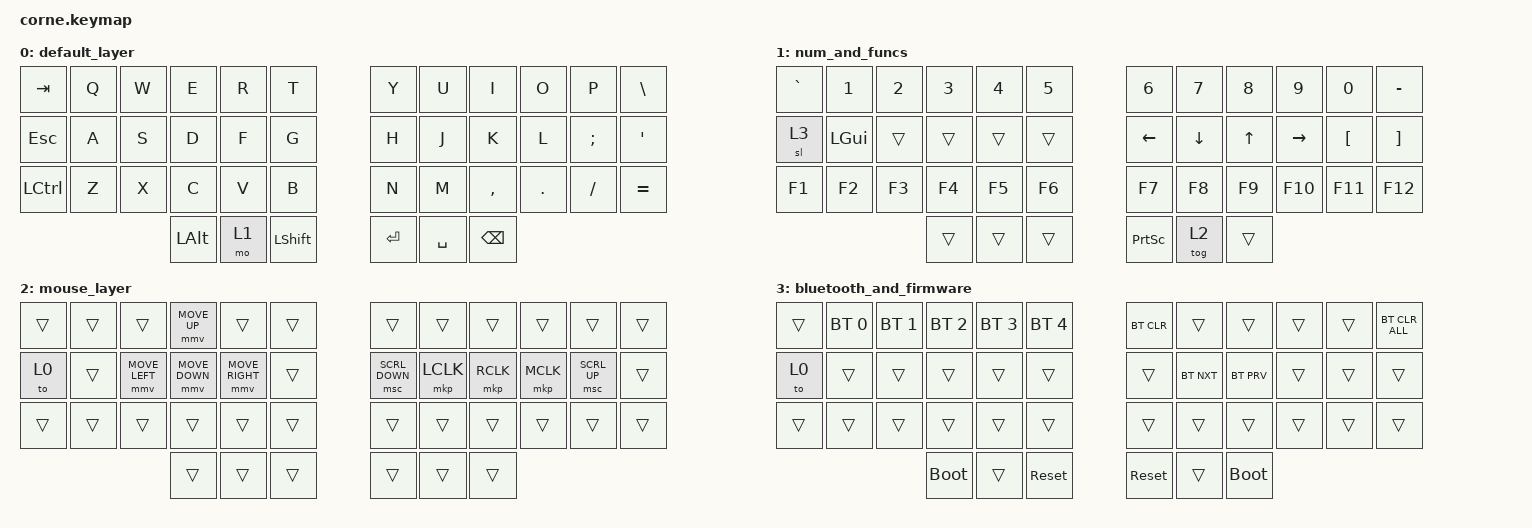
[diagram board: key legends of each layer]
/*
 * Copyright (c) 2020 The ZMK Contributors
 *
 * SPDX-License-Identifier: MIT
 */

#include <behaviors.dtsi>
#include <dt-bindings/zmk/keys.h>
#include <dt-bindings/zmk/bt.h>

#define ZMK_POINTING_DEFAULT_MOVE_VAL 1500 // default: 600
#define ZMK_POINTING_DEFAULT_SCRL_VAL 20   // default: 10
#include <dt-bindings/zmk/mouse.h>

/ {
        keymap {
                compatible = "zmk,keymap";

                default_layer {
// -----------------------------------------------------------------------------------------
// |  TAB |  Q  |  W  |  E  |  R  |  T  |   |  Y  |  U   |  I  |  O  |  P  |  \   |
// | ESC  |  A  |  S  |  D  |  F  |  G  |   |  H  |  J   |  K  |  L  |  ;  |  '   |
// | LCTRL|  Z  |  X  |  C  |  V  |  B  |   |  N  |  M   |  ,  |  .  |  /  |  =   |
//                    | LALT | mo(1) | LSHFT |   | ENT | SPC | BSPC |
                        bindings = <
   &kp TAB &kp Q &kp W &kp E &kp R &kp T   &kp Y &kp U  &kp I     &kp O   &kp P    &kp BSLH
   &kp ESC &kp A &kp S &kp D &kp F &kp G   &kp H &kp J  &kp K     &kp L   &kp SEMI &kp SQT
   &kp LCTRL &kp Z &kp X &kp C &kp V &kp B   &kp N &kp M  &kp COMMA &kp DOT &kp FSLH &kp EQUAL
                  &kp LALT &mo 1 &kp LSHFT   &kp ENTER &kp SPACE &kp BACKSPACE
                        >;
                };
                num_and_funcs {
// -----------------------------------------------------------------------------------------
// |  `   |  1  |  2  |  3  |  4  |  5  |   |  6  |  7  |  8  |  9  |  0  |  -   |
// | sl(3)| LGUI|     |     |     |     |   | LFT | DWN |  UP | RGT |  [  |  ]   |
// |  F1  |  F2 |  F3 |  F4 |  F5 |  F6 |   |  F7 |  F8 |  F9 | F10 | F11 | F12  |
//                    |     |     |     |   | PSCRN| tog(2)|    |
                        bindings = <
   &kp GRAVE    &kp N1       &kp N2       &kp N3       &kp N4       &kp N5         &kp N6   &kp N7   &kp N8 &kp N9    &kp N0 &kp MINUS
   &sl 3  &kp LGUI       &trans       &trans       &trans       &trans         &kp LEFT   &kp DOWN   &kp UP &kp RIGHT    &kp LBKT &kp RBKT
   &kp F1  &kp F2       &kp F3      &kp F4       &kp F5       &kp F6        &kp F7   &kp F8   &kp F9 &kp F10    &kp F11 &kp F12
                                    &trans     &trans       &trans      &kp PRINTSCREEN  &tog 2  &trans 
                        >;
                };
                mouse_layer {
// -----------------------------------------------------------------------------------------
// |      |     |     | M_UP|     |     |   |     |     |     |     |     |      |
// | to(0)|     |M_LFT|M_DWN|M_RGT|     |   |SC_DN|LCLK |RCLK |MCLK |SC_UP|      |
// |      |     |     |     |     |     |   |     |     |     |     |     |      |
//                    |     |     |     |   |     |     |     |
                        bindings = <
   &trans  &trans       &trans       &mmv MOVE_UP       &trans       &trans         &trans   &trans   &trans &trans    &trans &trans
   &to 0  &trans       &mmv MOVE_LEFT       &mmv MOVE_DOWN       &mmv MOVE_RIGHT       &trans         &msc SCRL_DOWN   &mkp LCLK   &mkp RCLK &mkp MCLK    &msc SCRL_UP &trans
   &trans  &trans       &trans       &trans       &trans       &trans         &trans   &trans   &trans &trans    &trans &trans
                                    &trans     &trans       &trans      &trans  &trans  &trans 
                        >;
                };

                bluetooth_and_firmware {
// -----------------------------------------------------------------------------------------
// |      | BT0 | BT1 | BT2 | BT3 | BT4 |   |BTCLR|     |     |     |     |BTCLRA|
// | to(0)|     |     |     |     |     |   |     |BTNXT|BTPRV|     |     |      |
// |      |     |     |     |     |     |   |     |     |     |     |     |      |
//                    |BOOT |     | RST |   | RST |     | BOOT|
                        bindings = <
   &trans  &bt BT_SEL 0       &bt BT_SEL 1       &bt BT_SEL 2       &bt BT_SEL 3       &bt BT_SEL 4         &bt BT_CLR   &trans   &trans &trans    &trans &bt BT_CLR_ALL
   &to 0  &trans       &trans       &trans       &trans       &trans         &trans   &bt BT_NXT   &bt BT_PRV &trans    &trans &trans
   &trans  &trans       &trans       &trans       &trans       &trans         &trans   &trans   &trans &trans    &trans &trans
                                    &bootloader     &trans       &sys_reset      &sys_reset  &trans  &bootloader 
                        >;
                };
        };
};
